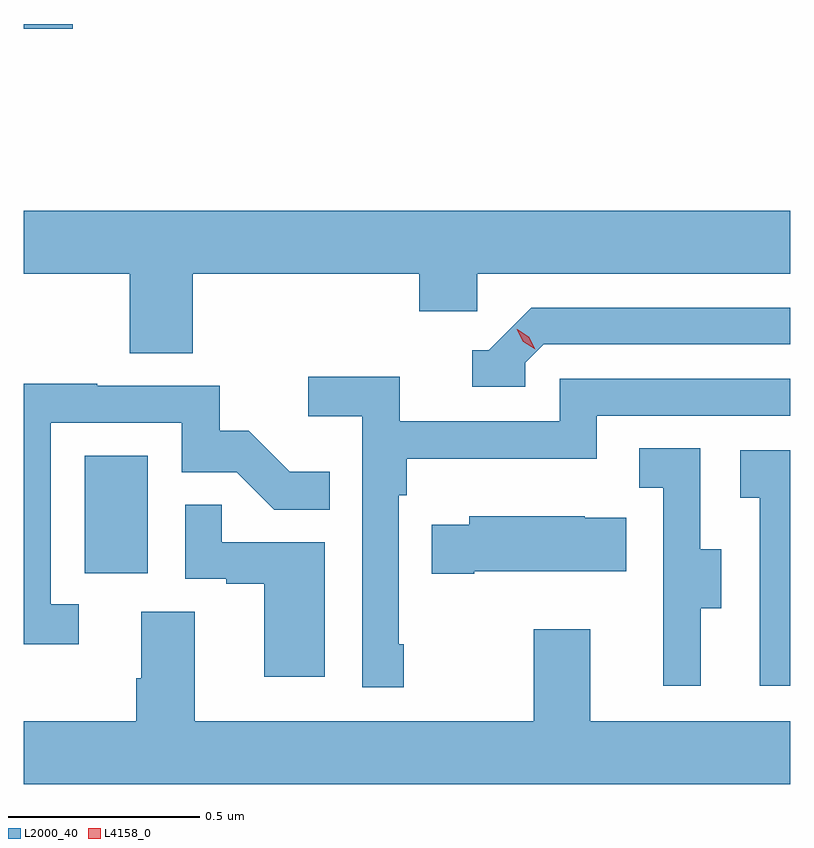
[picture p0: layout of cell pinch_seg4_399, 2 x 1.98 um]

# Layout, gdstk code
import gdstk
lib = gdstk.Library(unit=1e-6, precision=1e-09)
def R(c, l, rs):  # rectangles x0, y0, x1, y1
    for r in rs: c.add(gdstk.rectangle(r[:2], r[2:], *l))
def P(c, l, *ps):  # polygons
    for p in ps: c.add(gdstk.Polygon(p, *l))
L2000_40 = (2000, 40)
L4158_0 = (4158, 0)

pinch_seg4_399 = lib.new_cell('pinch_seg4_399')
R(pinch_seg4_399, L2000_40, [(980.726,780.054,980.89,780.361), (980.567,781.474,980.695,781.487)])
P(pinch_seg4_399, L2000_40, [(981.008,780.836),(981.599,780.836),(981.599,780.738),(981.75,780.738),(981.75,780.836),(982.567,780.836),(982.567,781),(980.567,781),(980.567,780.836),(980.843,780.836),(980.843,780.628),(981.008,780.628)],
  [(981.876,780.603),(981.924,780.651),(982.567,780.651),(982.567,780.747),(981.891,780.747),(981.78,780.636),(981.737,780.636),(981.737,780.54),(981.876,780.54)],
  [(981.559,779.869),(981.546,779.869),(981.546,780.257),(981.566,780.257),(981.566,780.353),(982.062,780.353),(982.062,780.465),(982.567,780.465),(982.567,780.561),(981.966,780.561),(981.966,780.45),(981.548,780.45),(981.548,780.566),(981.309,780.566),(981.309,780.464),(981.45,780.464),(981.45,779.757),(981.559,779.757)],
  [(980.71,779.973),(980.637,779.973),(980.637,780.447),(980.979,780.447),(980.979,780.318),(981.123,780.318),(981.221,780.22),(981.365,780.22),(981.365,780.319),(981.261,780.319),(981.154,780.426),(981.078,780.426),(981.078,780.543),(980.759,780.543),(980.759,780.548),(980.567,780.548),(980.567,779.868),(980.71,779.868)],
  [(982.333,779.962),(982.387,779.962),(982.387,780.117),(982.332,780.117),(982.332,780.38),(982.173,780.38),(982.173,780.277),(982.236,780.277),(982.236,779.973),(982.235,779.973),(982.235,779.76),(982.333,779.76)],
  [(982.567,780.375),(982.437,780.375),(982.437,780.251),(982.488,780.251),(982.488,779.76),(982.567,779.76)],
  [(981.352,780.135),(981.083,780.135),(981.083,780.233),(980.988,780.233),(980.988,780.039),(981.095,780.039),(981.095,780.027),(981.194,780.027),(981.194,779.784),(981.352,779.784)],
  [(981.742,780.059),(982.139,780.059),(982.139,780.199),(982.031,780.199),(982.031,780.202),(981.729,780.202),(981.729,780.181),(981.631,780.181),(981.631,780.052),(981.742,780.052)],
  [(982.567,779.668),(982.045,779.668),(982.045,779.908),(981.898,779.908),(981.898,779.668),(981.013,779.668),(981.013,779.954),(980.873,779.954),(980.873,779.78),(980.861,779.78),(980.861,779.668),(980.567,779.668),(980.567,779.504),(982.567,779.504)])
P(pinch_seg4_399, L4158_0, [(981.901,780.638),(981.87,780.658),(981.854,780.69),(981.854,780.69),(981.855,780.69),(981.885,780.671),(981.901,780.638),(981.901,780.638)])

lib.write_gds('pinch_seg4_399.gds')
